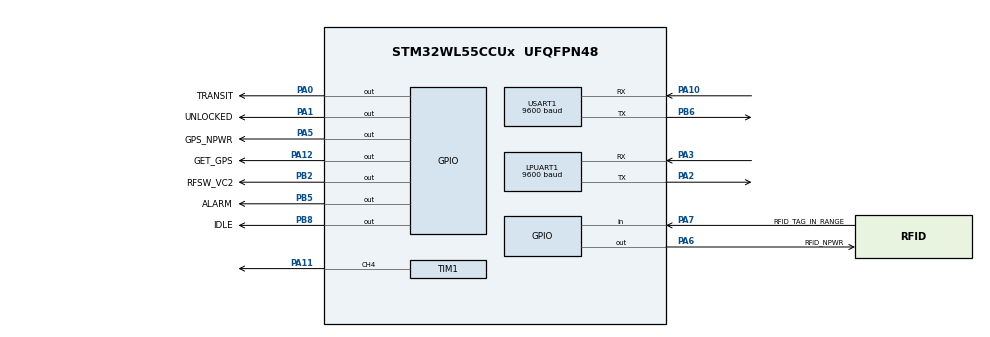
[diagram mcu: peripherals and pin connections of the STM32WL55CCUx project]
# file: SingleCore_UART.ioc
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ADC.ClockPrescaler=ADC_CLOCK_SYNC_PCLK_DIV4
ADC.NbrOfConversion=1
ADC.Overrun=ADC_OVR_DATA_OVERWRITTEN
ADC.SelectedChannel=ADC_CHANNEL_TEMPSENSOR|ADC_CHANNEL_VREFINT
LPUART1.BaudRate=9600
LPUART1.SwapParam=UART_ADVFEATURE_SWAP_ENABLE
Mcu.Family=STM32WL
Mcu.Name=STM32WL55CCUx
Mcu.Package=UFQFPN48
NVIC.LPUART1_IRQn=true\:0\:0\:false\:false\:true\:true\:true\:true
NVIC.PriorityGroup=NVIC_PRIORITYGROUP_4
NVIC.USART1_IRQn=true\:0\:0\:false\:false\:true\:true\:true\:true
PA0.GPIO_Label=TRANSIT
PA0.PinState=GPIO_PIN_SET
PA0.Signal=GPIO_Output
PA1.GPIO_Label=UNLOCKED
PA1.PinState=GPIO_PIN_SET
PA1.Signal=GPIO_Output
PA10.Mode=Asynchronous
PA10.Signal=USART1_RX
PA11.GPIO_Speed=GPIO_SPEED_FREQ_HIGH
PA11.Signal=S_TIM1_CH4
PA12.GPIO_Label=GET_GPS
PA12.PinState=GPIO_PIN_SET
PA12.Signal=GPIO_Output
PA13.Mode=Serial_Wire
PA13.Signal=DEBUG_JTMS-SWDIO
PA14.Mode=Serial_Wire
PA14.Signal=DEBUG_JTCK-SWCLK
PA2.Mode=Asynchronous
PA2.Signal=LPUART1_TX
PA3.Mode=Asynchronous
PA3.Signal=LPUART1_RX
PA5.GPIO_Label=GPS_NPWR
PA5.Signal=GPIO_Output
PA6.GPIO_Label=RFiD_NPWR
PA6.Signal=GPIO_Output
PA7.GPIO_Label=RFID_TAG_IN_RANGE
PA7.Signal=GPIO_Input
PB2.GPIO_Label=RFSW_VC2
PB2.Signal=GPIO_Output
PB4.Signal=DEBUG_JTRST
PB5.GPIO_Label=ALARM
PB5.PinState=GPIO_PIN_SET
PB5.Signal=GPIO_Output
PB6.Mode=Asynchronous
PB6.Signal=USART1_TX
PB8.GPIO_Label=IDLE
PB8.PinState=GPIO_PIN_SET
PB8.Signal=GPIO_Output
ProjectManager.HeapSize=0x200
ProjectManager.StackSize=0x400
ProjectManager.TargetToolchain=Makefile
RCC.AHBFreq_Value=48000000
RCC.APB1Freq_Value=48000000
RCC.APB1TimFreq_Value=48000000
RCC.APB2Freq_Value=48000000
RCC.APB2TimFreq_Value=48000000
RCC.APB3Freq_Value=48000000
RCC.CortexFreq_Value=48000000
RCC.HCLKFreq_Value=48000000
RCC.HSE_VALUE=8000000
RCC.HSI_VALUE=16000000
RCC.LPUART1CLockSelection=RCC_LPUART1CLKSOURCE_HSI
RCC.LSE_VALUE=32768
RCC.MSIClockRange=RCC_MSIRANGE_11
RCC.SYSCLKFreq_VALUE=48000000
RCC.USART1CLockSelection=RCC_USART1CLKSOURCE_HSI
RCC.VCOOutputFreq_Value=384000000
SH.S_TIM1_CH4.0=TIM1_CH4,PWM Generation4 CH4
TIM1.AutoReloadPreload=TIM_AUTORELOAD_PRELOAD_DISABLE
TIM1.Channel-PWM\ Generation4\ CH4=TIM_CHANNEL_4
TIM1.OCFastMode_PWM-PWM\ Generation4\ CH4=TIM_OCFAST_ENABLE
TIM1.Period=3
TIM1.Prescaler=2400
TIM1.Pulse-PWM\ Generation4\ CH4=2
TIM2.Period=5000000
TIM2.Prescaler=48000-1
USART1.AutoBaudRateEnableParam=UART_ADVFEATURE_AUTOBAUDRATE_DISABLE
USART1.BaudRate=9600
USART1.DataInvertParam=ADVFEATURE_DATAINV_DISABLE
USART1.FIFOMode=FIFOMODE_ENABLE
USART1.OneBitSampling=UART_ONE_BIT_SAMPLE_ENABLE
USART1.OverSampling=UART_OVERSAMPLING_8
USART1.RxPinLevelInvertParam=ADVFEATURE_RXINV_DISABLE
USART1.TxPinLevelInvertParam=ADVFEATURE_TXINV_DISABLE
USART1.VirtualMode-Asynchronous=VM_ASYNC
USART1.WordLength=WORDLENGTH_8B
VP_ADC_TempSens_Input.Mode=IN-TempSens
VP_ADC_Vref_Input.Mode=IN-Vrefint
VP_TIM1_VS_ClockSourceINT.Mode=Internal
VP_TIM2_VS_ClockSourceINT.Mode=Internal
board=custom

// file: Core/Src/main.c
/* USER CODE BEGIN Header */
/**
  ******************************************************************************
  * @file           : main.c
  * @brief          : Main program body
  ******************************************************************************
  * @attention
  *
  * <h2><center>&copy; Copyright (c) 2022 STMicroelectronics.
  * All rights reserved.</center></h2>
  *
  * This software component is licensed by ST under Ultimate Liberty license
  * SLA0044, the "License"; You may not use this file except in compliance with
  * the License. You may obtain a copy of the License at:
  *                             www.st.com/SLA0044
  *
  ******************************************************************************
  */
/* USER CODE END Header */
#include "main.h"

/* USER CODE BEGIN Includes */
#include "btrfid.h"
#include "btgps.h"
#include <stdint.h>
/* USER CODE END Includes */

 ADC_HandleTypeDef hadc;

UART_HandleTypeDef hlpuart1;
UART_HandleTypeDef huart1;

TIM_HandleTypeDef htim1;
TIM_HandleTypeDef htim2;

void SystemClock_Config(void);
static void MX_GPIO_Init(void);
static void MX_USART1_UART_Init(void);
static void MX_ADC_Init(void);
static void MX_LPUART1_UART_Init(void);
static void MX_TIM1_Init(void);
static void MX_TIM2_Init(void);

/* USER CODE BEGIN 0 */
uint8_t gps_buffer[100] = {0};
uint8_t dma_buffer[100] = {0};
uint8_t rxdata[90]= {0};
uint8_t testrxdata[90] = {0};
nmea_gpgga_t cur_gpsmsgbuf;
nmea_gpgga_t prev_gpsmgsbuf;
uint8_t rawbuf[24]={0};
uint8_t rfidbuf[13]={0};
uint8_t rfiddummydata[13]={0x3f,0xa6,0xe6,0xe6,0xe6,0x26,0x26,0xa9,0xf9,0x2e,0xca,0xd6,0xf2
};
statemachine_state_t mystate;
volatile uint8_t rfidrawbuf[50]={0};
volatile uint8_t rfidmsgbuf[15]={0};
uint32_t rfidstarttime;
/* USER CODE END 0 */

int main(void)
{
  /* USER CODE BEGIN 1 */
	mystate=BT_IDLE;
  /* USER CODE END 1 */

  /* MCU Configuration--------------------------------------------------------*/

  /* Reset of all peripherals, Initializes the Flash interface and the Systick. */
  HAL_Init();

  /* Configure the system clock */
  SystemClock_Config();

  /* Initialize all configured peripherals */
  MX_GPIO_Init();
  MX_USART1_UART_Init();
  MX_ADC_Init();
  MX_LPUART1_UART_Init();
  MX_TIM1_Init();
  MX_TIM2_Init();
  /* USER CODE BEGIN 2 */
  HAL_GPIO_WritePin(IDLE_GPIO_Port, IDLE_Pin, GPIO_PIN_SET);
  HAL_GPIO_WritePin(IDLE_GPIO_Port, IDLE_Pin, GPIO_PIN_RESET);
  HAL_GPIO_WritePin(UNLOCKED_GPIO_Port, UNLOCKED_Pin, GPIO_PIN_SET);
  HAL_GPIO_WritePin(UNLOCKED_GPIO_Port, UNLOCKED_Pin, GPIO_PIN_RESET);
  HAL_GPIO_WritePin(TRANSIT_GPIO_Port, TRANSIT_Pin, GPIO_PIN_SET);
  HAL_GPIO_WritePin(TRANSIT_GPIO_Port, TRANSIT_Pin, GPIO_PIN_RESET);
  HAL_GPIO_WritePin(ALARM_GPIO_Port, ALARM_Pin, GPIO_PIN_SET);
  HAL_GPIO_WritePin(ALARM_GPIO_Port, ALARM_Pin, GPIO_PIN_RESET);
  HAL_GPIO_WritePin(GET_GPS_GPIO_Port, GET_GPS_Pin, GPIO_PIN_SET);
  HAL_GPIO_WritePin(GET_GPS_GPIO_Port, GET_GPS_Pin, GPIO_PIN_RESET);
  HAL_TIM_Base_Start(&htim2);
  /* USER CODE END 2 */

  /* Infinite loop */
  /* USER CODE BEGIN WHILE */
  nmea_gpgga_t testgps1 = {"170921.000","4006.9306",'N',"08813.6236",'W','1','7'};
  nmea_gpgga_t testgps2 = {"170921.000","4006.9135",'N',"08813.6236",'W','1','7'};
  // GPS counter -- poll GPS once every 30 seconds
  volatile int prevgetgpstime=0;
  volatile int getgpstime=0;
  nmea_gpgga_t gpsbuf1={0};
  nmea_gpgga_t gpsbuf2={0};
 // volatile uint32_t distbuffer[10] = {0};
  volatile uint32_t latest_dist=0;
  volatile uint32_t full_dist=0;
  int threshold = 8;
  volatile int tcounter;
  while (1)
  {
    getgpstime = __HAL_TIM_GET_COUNTER(&htim2);
    if ((getgpstime - prevgetgpstime)>10000){
      HAL_GPIO_WritePin(GET_GPS_GPIO_Port, GET_GPS_Pin, GPIO_PIN_SET);
      prev_gpsmgsbuf = cur_gpsmsgbuf;
      get_gps(&huart1, &cur_gpsmsgbuf);
      latest_dist = getdistance(&prev_gpsmgsbuf.latitude, &prev_gpsmgsbuf.longitude, &cur_gpsmsgbuf.latitude, &cur_gpsmsgbuf.longitude);
      prevgetgpstime=getgpstime;
      HAL_Delay(1000);
      HAL_GPIO_WritePin(GET_GPS_GPIO_Port, GET_GPS_Pin, GPIO_PIN_RESET);
    }

   /*
    for (int i = 0; i <10; i ++){
      get_gps(&huart1, &gpsbuf1);
      get_gps(&huart1, &gpsbuf2);
      latest_dist=getdistance(&gpsbuf1.latitude, &gpsbuf1.longitude, &gpsbuf2.latitude, &gpsbuf2.longitude);
    }*/

    // test GPS stuff:
    //uint32_t full_dist = getdistance(&testgps1.latitude, &testgps1.longitude, &testgps2.latitude, &testgps2.longitude);
    /* USER CODE END WHILE */

    /* USER CODE BEGIN 3 */
    switch (mystate){
	  case BT_IDLE	:
		  HAL_GPIO_WritePin(IDLE_GPIO_Port, IDLE_Pin, GPIO_PIN_SET);
		  HAL_GPIO_WritePin(UNLOCKED_GPIO_Port, UNLOCKED_Pin, GPIO_PIN_RESET);
		  HAL_GPIO_WritePin(TRANSIT_GPIO_Port, TRANSIT_Pin, GPIO_PIN_RESET);
		  HAL_GPIO_WritePin(ALARM_GPIO_Port, ALARM_Pin, GPIO_PIN_RESET);
      // state transition for idle->unlocked is in the LPUART IRQ
		  HAL_StatusTypeDef res = HAL_UART_Receive_IT(&hlpuart1,rfidrawbuf,40);
		  if (latest_dist>threshold){
        mystate=BT_ALARM;
      }

		  break;
	  case BT_UNLOCKED	:
		  HAL_GPIO_WritePin(IDLE_GPIO_Port, IDLE_Pin, GPIO_PIN_RESET);
		  HAL_GPIO_WritePin(UNLOCKED_GPIO_Port, UNLOCKED_Pin, GPIO_PIN_SET);
		  HAL_GPIO_WritePin(TRANSIT_GPIO_Port, TRANSIT_Pin, GPIO_PIN_RESET);
		  HAL_GPIO_WritePin(ALARM_GPIO_Port, ALARM_Pin, GPIO_PIN_RESET);
      int unlocked_time = __HAL_TIM_GET_COUNTER(&htim2);
      if (((unlocked_time - rfidstarttime) > 5000)){
        mystate=BT_IDLE;
      }
      if (latest_dist>5){
        mystate=BT_TRANSIT;
        tcounter = 0;
      }
		  break;
	  case BT_TRANSIT	:
		  HAL_GPIO_WritePin(IDLE_GPIO_Port, IDLE_Pin, GPIO_PIN_RESET);
		  HAL_GPIO_WritePin(UNLOCKED_GPIO_Port, UNLOCKED_Pin, GPIO_PIN_RESET);
		  HAL_GPIO_WritePin(TRANSIT_GPIO_Port, TRANSIT_Pin, GPIO_PIN_SET);
		  HAL_GPIO_WritePin(ALARM_GPIO_Port, ALARM_Pin, GPIO_PIN_RESET);
      if (latest_dist<5){
        tcounter = tcounter +1;
        if (tcounter > 4){
        mystate=BT_IDLE;
        tcounter =0;
        latest_dist=0;
        }
      }
		  break;
	  case BT_ALARM:
		  HAL_GPIO_WritePin(IDLE_GPIO_Port, IDLE_Pin, GPIO_PIN_RESET);
		  HAL_GPIO_WritePin(UNLOCKED_GPIO_Port, UNLOCKED_Pin, GPIO_PIN_RESET);
		  HAL_GPIO_WritePin(TRANSIT_GPIO_Port, TRANSIT_Pin, GPIO_PIN_RESET);
		  HAL_GPIO_WritePin(ALARM_GPIO_Port, ALARM_Pin, GPIO_PIN_SET);
      HAL_TIM_PWM_Start(&htim1, TIM_CHANNEL_4);
      HAL_Delay(1000);
      HAL_TIM_PWM_Stop(&htim1, TIM_CHANNEL_4);
      latest_dist=0;
      mystate=BT_IDLE;
	  }
  }
  /* USER CODE END 3 */
}

void SystemClock_Config(void)
{
  RCC_OscInitTypeDef RCC_OscInitStruct = {0};
  RCC_ClkInitTypeDef RCC_ClkInitStruct = {0};

  /** Configure the main internal regulator output voltage
  */
  __HAL_PWR_VOLTAGESCALING_CONFIG(PWR_REGULATOR_VOLTAGE_SCALE1);

  /** Initializes the CPU, AHB and APB busses clocks
  */
  RCC_OscInitStruct.OscillatorType = RCC_OSCILLATORTYPE_HSI|RCC_OSCILLATORTYPE_MSI;
  RCC_OscInitStruct.HSIState = RCC_HSI_ON;
  RCC_OscInitStruct.MSIState = RCC_MSI_ON;
  RCC_OscInitStruct.HSICalibrationValue = RCC_HSICALIBRATION_DEFAULT;
  RCC_OscInitStruct.MSICalibrationValue = RCC_MSICALIBRATION_DEFAULT;
  RCC_OscInitStruct.MSIClockRange = RCC_MSIRANGE_11;
  RCC_OscInitStruct.PLL.PLLState = RCC_PLL_NONE;
  if (HAL_RCC_OscConfig(&RCC_OscInitStruct) != HAL_OK)
  {
    Error_Handler();
  }

  /** Configure the SYSCLKSource, HCLK, PCLK1 and PCLK2 clocks dividers
  */
  RCC_ClkInitStruct.ClockType = RCC_CLOCKTYPE_HCLK3|RCC_CLOCKTYPE_HCLK
                              |RCC_CLOCKTYPE_SYSCLK|RCC_CLOCKTYPE_PCLK1
                              |RCC_CLOCKTYPE_PCLK2;
  RCC_ClkInitStruct.SYSCLKSource = RCC_SYSCLKSOURCE_MSI;
  RCC_ClkInitStruct.AHBCLKDivider = RCC_SYSCLK_DIV1;
  RCC_ClkInitStruct.APB1CLKDivider = RCC_HCLK_DIV1;
  RCC_ClkInitStruct.APB2CLKDivider = RCC_HCLK_DIV1;
  RCC_ClkInitStruct.AHBCLK3Divider = RCC_SYSCLK_DIV1;

  if (HAL_RCC_ClockConfig(&RCC_ClkInitStruct, FLASH_LATENCY_2) != HAL_OK)
  {
    Error_Handler();
  }
}

static void MX_ADC_Init(void)
{

  /** Configure the global features of the ADC (Clock, Resolution, Data Alignment and number of conversion)
  */
  hadc.Instance = ADC;
  hadc.Init.ClockPrescaler = ADC_CLOCK_SYNC_PCLK_DIV4;
  hadc.Init.Resolution = ADC_RESOLUTION_12B;
  hadc.Init.DataAlign = ADC_DATAALIGN_RIGHT;
  hadc.Init.ScanConvMode = ADC_SCAN_DISABLE;
  hadc.Init.EOCSelection = ADC_EOC_SINGLE_CONV;
  hadc.Init.LowPowerAutoWait = DISABLE;
  hadc.Init.LowPowerAutoPowerOff = DISABLE;
  hadc.Init.ContinuousConvMode = DISABLE;
  hadc.Init.NbrOfConversion = 1;
  hadc.Init.DiscontinuousConvMode = DISABLE;
  hadc.Init.ExternalTrigConv = ADC_SOFTWARE_START;
  hadc.Init.ExternalTrigConvEdge = ADC_EXTERNALTRIGCONVEDGE_NONE;
  hadc.Init.DMAContinuousRequests = DISABLE;
  hadc.Init.Overrun = ADC_OVR_DATA_OVERWRITTEN;
  hadc.Init.SamplingTimeCommon1 = ADC_SAMPLETIME_1CYCLE_5;
  hadc.Init.SamplingTimeCommon2 = ADC_SAMPLETIME_1CYCLE_5;
  hadc.Init.OversamplingMode = DISABLE;
  hadc.Init.TriggerFrequencyMode = ADC_TRIGGER_FREQ_HIGH;
  if (HAL_ADC_Init(&hadc) != HAL_OK)
  {
    Error_Handler();
  }

}

static void MX_LPUART1_UART_Init(void)
{

  hlpuart1.Instance = LPUART1;
  hlpuart1.Init.BaudRate = 9600;
  hlpuart1.Init.WordLength = UART_WORDLENGTH_8B;
  hlpuart1.Init.StopBits = UART_STOPBITS_1;
  hlpuart1.Init.Parity = UART_PARITY_NONE;
  hlpuart1.Init.Mode = UART_MODE_TX_RX;
  hlpuart1.Init.HwFlowCtl = UART_HWCONTROL_NONE;
  hlpuart1.Init.OneBitSampling = UART_ONE_BIT_SAMPLE_DISABLE;
  hlpuart1.Init.ClockPrescaler = UART_PRESCALER_DIV1;
  hlpuart1.AdvancedInit.AdvFeatureInit = UART_ADVFEATURE_SWAP_INIT;
  hlpuart1.AdvancedInit.Swap = UART_ADVFEATURE_SWAP_ENABLE;
  hlpuart1.FifoMode = UART_FIFOMODE_DISABLE;
  if (HAL_UART_Init(&hlpuart1) != HAL_OK)
  {
    Error_Handler();
  }
  if (HAL_UARTEx_SetTxFifoThreshold(&hlpuart1, UART_TXFIFO_THRESHOLD_1_8) != HAL_OK)
  {
    Error_Handler();
  }
  if (HAL_UARTEx_SetRxFifoThreshold(&hlpuart1, UART_RXFIFO_THRESHOLD_1_8) != HAL_OK)
  {
    Error_Handler();
  }
  if (HAL_UARTEx_DisableFifoMode(&hlpuart1) != HAL_OK)
  {
    Error_Handler();
  }

}

static void MX_USART1_UART_Init(void)
{

  huart1.Instance = USART1;
  huart1.Init.BaudRate = 9600;
  huart1.Init.WordLength = UART_WORDLENGTH_8B;
  huart1.Init.StopBits = UART_STOPBITS_1;
  huart1.Init.Parity = UART_PARITY_NONE;
  huart1.Init.Mode = UART_MODE_TX_RX;
  huart1.Init.HwFlowCtl = UART_HWCONTROL_NONE;
  huart1.Init.OverSampling = UART_OVERSAMPLING_8;
  huart1.Init.OneBitSampling = UART_ONE_BIT_SAMPLE_ENABLE;
  huart1.Init.ClockPrescaler = UART_PRESCALER_DIV1;
  huart1.AdvancedInit.AdvFeatureInit = UART_ADVFEATURE_NO_INIT;
  if (HAL_UART_Init(&huart1) != HAL_OK)
  {
    Error_Handler();
  }
  if (HAL_UARTEx_SetTxFifoThreshold(&huart1, UART_TXFIFO_THRESHOLD_1_8) != HAL_OK)
  {
    Error_Handler();
  }
  if (HAL_UARTEx_SetRxFifoThreshold(&huart1, UART_RXFIFO_THRESHOLD_1_8) != HAL_OK)
  {
    Error_Handler();
  }
  if (HAL_UARTEx_EnableFifoMode(&huart1) != HAL_OK)
  {
    Error_Handler();
  }

}

static void MX_TIM1_Init(void)
{

  TIM_ClockConfigTypeDef sClockSourceConfig = {0};
  TIM_MasterConfigTypeDef sMasterConfig = {0};
  TIM_OC_InitTypeDef sConfigOC = {0};
  TIM_BreakDeadTimeConfigTypeDef sBreakDeadTimeConfig = {0};

  htim1.Instance = TIM1;
  htim1.Init.Prescaler = 2400;
  htim1.Init.CounterMode = TIM_COUNTERMODE_UP;
  htim1.Init.Period = 3;
  htim1.Init.ClockDivision = TIM_CLOCKDIVISION_DIV1;
  htim1.Init.RepetitionCounter = 0;
  htim1.Init.AutoReloadPreload = TIM_AUTORELOAD_PRELOAD_DISABLE;
  if (HAL_TIM_Base_Init(&htim1) != HAL_OK)
  {
    Error_Handler();
  }
  sClockSourceConfig.ClockSource = TIM_CLOCKSOURCE_INTERNAL;
  if (HAL_TIM_ConfigClockSource(&htim1, &sClockSourceConfig) != HAL_OK)
  {
    Error_Handler();
  }
  if (HAL_TIM_PWM_Init(&htim1) != HAL_OK)
  {
    Error_Handler();
  }
  sMasterConfig.MasterOutputTrigger = TIM_TRGO_RESET;
  sMasterConfig.MasterOutputTrigger2 = TIM_TRGO2_RESET;
  sMasterConfig.MasterSlaveMode = TIM_MASTERSLAVEMODE_DISABLE;
  if (HAL_TIMEx_MasterConfigSynchronization(&htim1, &sMasterConfig) != HAL_OK)
  {
    Error_Handler();
  }
  sConfigOC.OCMode = TIM_OCMODE_PWM1;
  sConfigOC.Pulse = 2;
  sConfigOC.OCPolarity = TIM_OCPOLARITY_HIGH;
  sConfigOC.OCFastMode = TIM_OCFAST_ENABLE;
  sConfigOC.OCIdleState = TIM_OCIDLESTATE_RESET;
  sConfigOC.OCNIdleState = TIM_OCNIDLESTATE_RESET;
  if (HAL_TIM_PWM_ConfigChannel(&htim1, &sConfigOC, TIM_CHANNEL_4) != HAL_OK)
  {
    Error_Handler();
  }
  sBreakDeadTimeConfig.OffStateRunMode = TIM_OSSR_DISABLE;
  sBreakDeadTimeConfig.OffStateIDLEMode = TIM_OSSI_DISABLE;
  sBreakDeadTimeConfig.LockLevel = TIM_LOCKLEVEL_OFF;
  sBreakDeadTimeConfig.DeadTime = 0;
  sBreakDeadTimeConfig.BreakState = TIM_BREAK_DISABLE;
  sBreakDeadTimeConfig.BreakPolarity = TIM_BREAKPOLARITY_HIGH;
  sBreakDeadTimeConfig.BreakFilter = 0;
  sBreakDeadTimeConfig.BreakAFMode = TIM_BREAK_AFMODE_INPUT;
  sBreakDeadTimeConfig.Break2State = TIM_BREAK2_DISABLE;
  sBreakDeadTimeConfig.Break2Polarity = TIM_BREAK2POLARITY_HIGH;
  sBreakDeadTimeConfig.Break2Filter = 0;
  sBreakDeadTimeConfig.Break2AFMode = TIM_BREAK_AFMODE_INPUT;
  sBreakDeadTimeConfig.AutomaticOutput = TIM_AUTOMATICOUTPUT_DISABLE;
  if (HAL_TIMEx_ConfigBreakDeadTime(&htim1, &sBreakDeadTimeConfig) != HAL_OK)
  {
    Error_Handler();
  }
  HAL_TIM_MspPostInit(&htim1);

}

static void MX_TIM2_Init(void)
{

  TIM_ClockConfigTypeDef sClockSourceConfig = {0};
  TIM_MasterConfigTypeDef sMasterConfig = {0};

  htim2.Instance = TIM2;
  htim2.Init.Prescaler = 48000-1;
  htim2.Init.CounterMode = TIM_COUNTERMODE_UP;
  htim2.Init.Period = 5000000;
  htim2.Init.ClockDivision = TIM_CLOCKDIVISION_DIV1;
  htim2.Init.AutoReloadPreload = TIM_AUTORELOAD_PRELOAD_DISABLE;
  if (HAL_TIM_Base_Init(&htim2) != HAL_OK)
  {
    Error_Handler();
  }
  sClockSourceConfig.ClockSource = TIM_CLOCKSOURCE_INTERNAL;
  if (HAL_TIM_ConfigClockSource(&htim2, &sClockSourceConfig) != HAL_OK)
  {
    Error_Handler();
  }
  sMasterConfig.MasterOutputTrigger = TIM_TRGO_RESET;
  sMasterConfig.MasterSlaveMode = TIM_MASTERSLAVEMODE_DISABLE;
  if (HAL_TIMEx_MasterConfigSynchronization(&htim2, &sMasterConfig) != HAL_OK)
  {
    Error_Handler();
  }

}

static void MX_GPIO_Init(void)
{
  GPIO_InitTypeDef GPIO_InitStruct = {0};

  /* GPIO Ports Clock Enable */
  __HAL_RCC_GPIOB_CLK_ENABLE();
  __HAL_RCC_GPIOA_CLK_ENABLE();

  /*Configure GPIO pin Output Level */
  HAL_GPIO_WritePin(GPIOB, ALARM_Pin|IDLE_Pin, GPIO_PIN_SET);

  /*Configure GPIO pin Output Level */
  HAL_GPIO_WritePin(GPIOA, TRANSIT_Pin|UNLOCKED_Pin|GET_GPS_Pin, GPIO_PIN_SET);

  /*Configure GPIO pin Output Level */
  HAL_GPIO_WritePin(GPIOA, GPS_NPWR_Pin|RFiD_NPWR_Pin, GPIO_PIN_RESET);

  /*Configure GPIO pin Output Level */
  HAL_GPIO_WritePin(RFSW_VC2_GPIO_Port, RFSW_VC2_Pin, GPIO_PIN_RESET);

  /*Configure GPIO pins : ALARM_Pin IDLE_Pin RFSW_VC2_Pin */
  GPIO_InitStruct.Pin = ALARM_Pin|IDLE_Pin|RFSW_VC2_Pin;
  GPIO_InitStruct.Mode = GPIO_MODE_OUTPUT_PP;
  GPIO_InitStruct.Pull = GPIO_NOPULL;
  GPIO_InitStruct.Speed = GPIO_SPEED_FREQ_LOW;
  HAL_GPIO_Init(GPIOB, &GPIO_InitStruct);

  /*Configure GPIO pins : TRANSIT_Pin UNLOCKED_Pin GPS_NPWR_Pin RFiD_NPWR_Pin
                           GET_GPS_Pin */
  GPIO_InitStruct.Pin = TRANSIT_Pin|UNLOCKED_Pin|GPS_NPWR_Pin|RFiD_NPWR_Pin
                          |GET_GPS_Pin;
  GPIO_InitStruct.Mode = GPIO_MODE_OUTPUT_PP;
  GPIO_InitStruct.Pull = GPIO_NOPULL;
  GPIO_InitStruct.Speed = GPIO_SPEED_FREQ_LOW;
  HAL_GPIO_Init(GPIOA, &GPIO_InitStruct);

  /*Configure GPIO pin : RFID_TAG_IN_RANGE_Pin */
  GPIO_InitStruct.Pin = RFID_TAG_IN_RANGE_Pin;
  GPIO_InitStruct.Mode = GPIO_MODE_INPUT;
  GPIO_InitStruct.Pull = GPIO_NOPULL;
  HAL_GPIO_Init(RFID_TAG_IN_RANGE_GPIO_Port, &GPIO_InitStruct);

}

void Error_Handler(void)
{
  __disable_irq();
  while (1)
  {
  }
}
